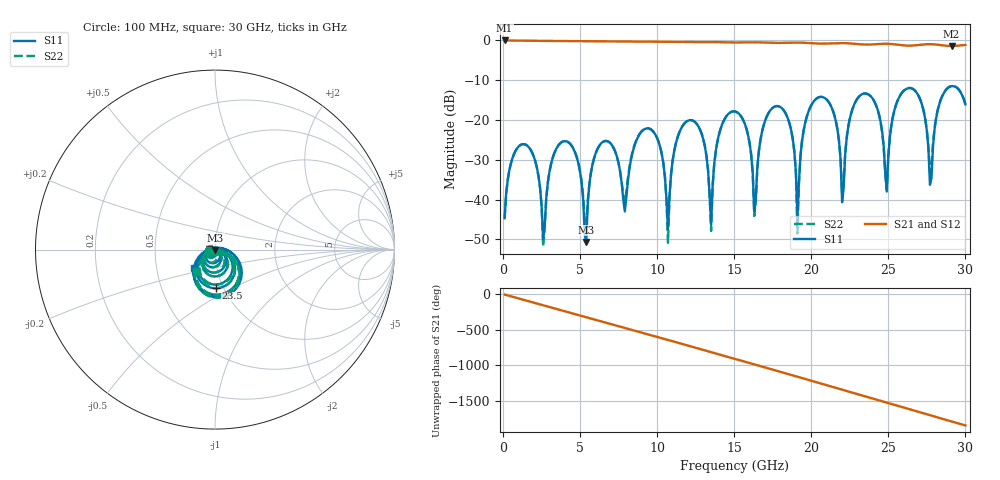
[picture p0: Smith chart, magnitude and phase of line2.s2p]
! Created Sat Feb 15 09:36:04 2025
! List of port names and net name(s): example Port n = <port_name> <net_name1> <net_name2> ...
! Port 1 = P1 P1
! Port 2 = P2 P1
# hz S ma R 50
! 2 Port Network Data from data block
! freq  magS11  angS11  magS21  angS21  magS12  angS12  magS22  angS22
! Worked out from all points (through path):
!   300 points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, 100 MHz to 30 GHz, reference 50 ohm
!   highest |S21| = -0.01 dB at 100 MHz (marker M1); lowest = -1.4 dB at 29.1 GHz (marker M2)
!   group delay of S21, straight-line fit = 171 ps
!   lowest |S11| = -50.6 dB at 5.4 GHz (marker M3), VSWR 1.01, Z = 50.1 - j0.272 ohm
!   |S11| at or under -10 dB: start of sweep to end of sweep
!   |S22| runs from -51.7 to -11.4 dB; largest |S21 - S12| = 0
!   S11 on the Smith chart (normalised r, x): 100 MHz: 1.00, -0.01; 23.5 GHz: 0.92, -0.41; 30 GHz: 0.78, -0.17
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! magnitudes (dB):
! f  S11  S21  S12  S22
! 100 MHz  -44.7  0.0  0.0  -44.7
! 1.2 GHz  -26.1  -0.1  -0.1  -26.1
! 5.1 GHz  -35.9  -0.2  -0.2  -35.5
! 5.4 GHz  -50.6  -0.2  -0.2  -46.6
! 6.3 GHz  -26.1  -0.2  -0.2  -26.2
! 7.9 GHz  -43.0  -0.3  -0.3  -40.7
! 10.1 GHz  -25.6  -0.3  -0.3  -25.6
! 10.7 GHz  -47.5  -0.3  -0.3  -50.9
! 12.1 GHz  -20.0  -0.4  -0.4  -20.0
! 13.5 GHz  -46.4  -0.4  -0.4  -47.9
! 15.1 GHz  -17.9  -0.5  -0.5  -17.9
! 16.3 GHz  -43.0  -0.5  -0.5  -44.1
! 18.4 GHz  -18.8  -0.6  -0.6  -18.8
! 19.1 GHz  -44.6  -0.5  -0.5  -48.5
! 20.1 GHz  -15.6  -0.7  -0.7  -15.6
! 22 GHz  -40.7  -0.7  -0.7  -38.2
! 23.5 GHz  -13.3  -1.0  -1.0  -13.3
! 25.1 GHz  -24.3  -0.9  -0.9  -24.1
! 26.8 GHz  -12.9  -1.2  -1.2  -12.9
! 27.7 GHz  -36.3  -0.9  -0.9  -33.3
! 29.1 GHz  -11.5  -1.4  -1.4  -11.4
! 30 GHz  -16.1  -1.1  -1.1  -16.0
